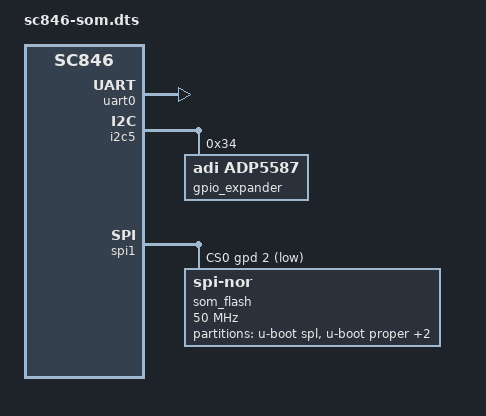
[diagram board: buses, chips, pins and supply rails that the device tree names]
// SPDX-License-Identifier: GPL-2.0-only
/*
 * Copyright (c) 2026 Analog Devices, Inc.
 */

/dts-v1/;

#include <dt-bindings/gpio/gpio.h>
#include <dt-bindings/pinctrl/adi,adsp-sc846-pinctrl.h>
#include <dt-bindings/soc/adi/sc5xx-tru.h>
#include <dt-bindings/pinctrl/adi-adsp-sru.h>

#include "sc846.dtsi"

/ {
	chosen {
		stdout-path = &uart0;
	};

	reserved-memory {
		#address-cells = <1>;
		#size-cells = <1>;
		ranges;

		vdev0vrings: vdev0vring0@20400000 {
			reg = <0x20400000 0x4000>;
			no-map;
		};

		rsc_tbl0: rsc_tbl0@20404000 {
			reg = <0x20404000 0x400>;
			no-map;
		};
	};
};

&scb {
	sharc0: core1-rproc@28240000 {
		compatible = "adi,adsp-sc846-rproc";
		reg = <0x28240000 0x160000>,
				<0x20000000 0x200000>;
		core-id = <1>;
		core-irq = <321>; /* SOFT1 */
		firmware-name = "adi/rpmsg_echo_sharc_core1.ldr";
		interrupts = <GIC_SPI 352 IRQ_TYPE_EDGE_RISING>; /* TRU0_RCV3 */
		adi,rcu = <&rcu>;
		adi,l1-da = <0x240000 0x3a0000>;
		adi,l2-da = <0x20000000 0x20200000>;
		adi,rsc-table = <&rsc_tbl0>;
		adi,tru = <&tru>;
		adi,tru-master-id = <ADI_TRU_MST_SOFT(4)>;
	};
};

&uart0 {
	pinctrl-names = "default";
	pinctrl-0 = <&uart0_default>;
	status = "okay";
};

&i2c5 {
	pinctrl-names = "default";
	pinctrl-0 = <&i2c5_pins>;
	status = "okay";

	gpio_expander: gpio@34 {
		compatible = "adi,adp5587";
		gpio-controller;
		#gpio-cells = <2>;
		reg = <0x34>;

		uart0-flow-hog {
			gpio-hog;
			gpios = <0 GPIO_ACTIVE_LOW>;
			output-low;
			line-name = "uart0-flow-en";
		};

		uart0-hog {
			gpio-hog;
			gpios = <1 GPIO_ACTIVE_LOW>;
			output-high;
			line-name = "uart0-en";
		};

		sd-card-en-hog {
			gpio-hog;
			gpios = <2 GPIO_ACTIVE_LOW>;
			output-high;
			line-name = "sd-card-en";
		};

		usb-phy-reset-hog {
			gpio-hog;
			gpios = <3 GPIO_ACTIVE_LOW>;
			output-high;
			line-name = "usb-phy-reset";
		};

		led-ds4-hog {
			gpio-hog;
			gpios = <15 GPIO_ACTIVE_LOW >;
			output-high;
			line-name = "led-ds4";
		};

		led-ds3-hog {
			gpio-hog;
			gpios = <16 GPIO_ACTIVE_LOW>;
			output-high;
			line-name = "led-ds3";
		};

		led-ds2-hog {
			gpio-hog;
			gpios = <17 GPIO_ACTIVE_LOW>;
			output-high;
			line-name = "led-ds2";
		};
	};
};

&spi1 {
	pinctrl-names = "default";
	pinctrl-0 = <&spi1_default>;
	cs-gpios = <&gpd 2 GPIO_ACTIVE_LOW>;
	//bus-num = <2>;
	status = "okay";

	som_flash: flash@0 {
		compatible = "jedec,spi-nor";
		reg = <0>;
		spi-rx-bus-width = <4>;
		spi-tx-bus-width = <4>;
		spi-max-frequency = <50000000>;

		partitions {
			compatible = "fixed-partitions";
			#address-cells = <1>;
			#size-cells = <1>;

			partition@0 {
				label = "u-boot spl";
				reg = <0x00000000 0x40000>;
			};

			partition@40000 {
				label = "u-boot proper";
				reg = <0x00040000 0xc0000>;
			};

			partition@100000 {
				label = "kernel";
				reg = <0x00100000 0x2000000>;
			};

			partition@2100000 {
				label = "rootfs";
				reg = <0x2100000 0xdf00000>;
			};
		};
	};
};

&pinctrl {
	uart0_default: uart0-default-pins {
		pinmux = <ADSP_SC846_PA00__UART0_TX
			  ADSP_SC846_PA01__UART0_RX>;
	};

	uart0_hwflow: uart0-hwflow-pins {
		pinmux = <ADSP_SC846_PA02__UART0_RTS
			  ADSP_SC846_PA03__UART0_CTS>;
	};

	spi0_default: spi0-default-pins {
		pinmux = <ADSP_SC846_PE05__XSPI0_SEL1
			  ADSP_SC846_PD14__XSPI0_CLK
			  ADSP_SC846_PE06__XSPI0_SEL2
			  ADSP_SC846_PD15__XSPI0_CLK
			  ADSP_SC846_PE04__XSPI0_DQS_RWDS
			  ADSP_SC846_PD11__XSPI0_COTI
			  ADSP_SC846_PD13__XSPI0_D3
			  ADSP_SC846_PE00__XSPI0_D4
			  ADSP_SC846_PE02__XSPI0_D6
			  ADSP_SC846_PD10__XSPI0_CITO
			  ADSP_SC846_PD12__XSPI0_D2
			  ADSP_SC846_PE01__XSPI0_D5
			  ADSP_SC846_PE03__XSPI0_D7>;
	};

	spi1_default: spi1-default-pins {
		pinmux = <ADSP_SC846_PD00__SPI1_CITO
			  ADSP_SC846_PD01__SPI1_COTI
			  ADSP_SC846_PD02__SPI1_SEL1
			  ADSP_SC846_PB10__SPI1_D2
			  ADSP_SC846_PB11__SPI1_D3
			  ADSP_SC846_PC15__SPI1_CLK>;
	};

	i2c5_pins: i2c5-default-pins {
		pinmux = <ADSP_SC846_PB02__TWI5_SCL
			  ADSP_SC846_PB03__TWI5_SDA>;
	};
};
